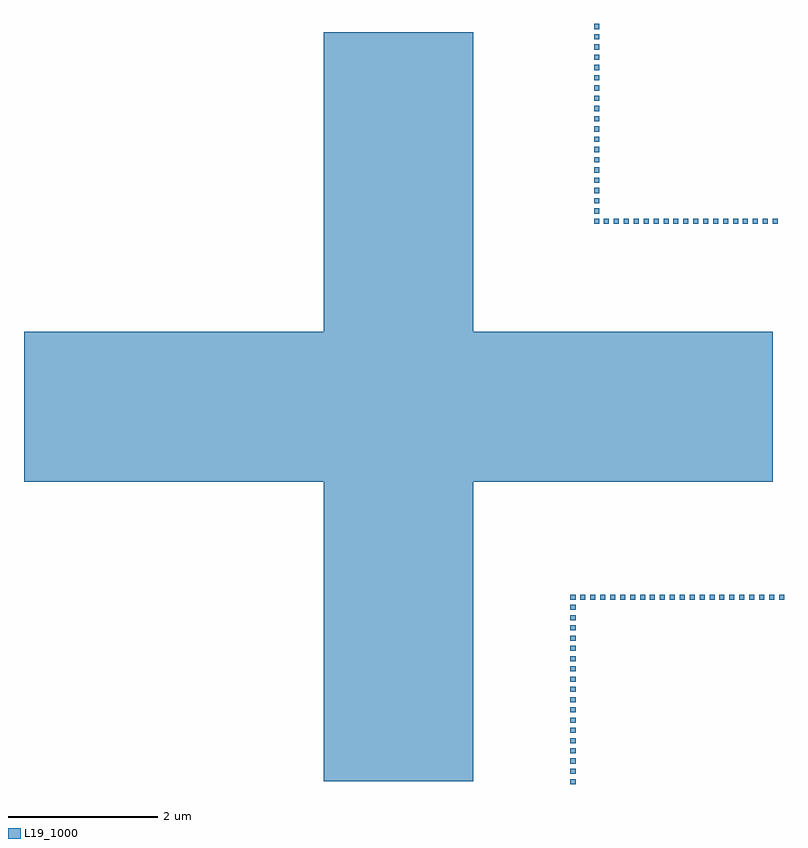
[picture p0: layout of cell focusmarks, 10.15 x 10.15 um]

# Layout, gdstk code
import gdstk
lib = gdstk.Library(unit=1e-6, precision=1e-09)
def R(c, l, rs):  # rectangles x0, y0, x1, y1
    for r in rs: c.add(gdstk.rectangle(r[:2], r[2:], *l))
def A(c, l, x, y, w, h, nx, ny, dx, dy):  # array of equal rectangles
    R(c, l, [(x+i*dx, y+j*dy, x+i*dx+w, y+j*dy+h) for i in range(nx) for j in range(ny)])
L19_1000 = (19, 1000)

focusmarks = lib.new_cell('focusmarks')
A(focusmarks, L19_1000, 2.297, -4.627, 0.067, 0.068, 1, 4, 0, 0.137)
A(focusmarks, L19_1000, 2.297, -3.396, 0.067, 0.069, 1, 4, 0, 0.137)
A(focusmarks, L19_1000, 2.297, -2.575, 0.067, 0.069, 3, 1, 0.265, 0)
A(focusmarks, L19_1000, 2.43, -2.575, 0.066, 0.069, 3, 1, 0.265, 0)
A(focusmarks, L19_1000, 3.756, -2.575, 0.067, 0.069, 3, 1, 0.265, 0)
A(focusmarks, L19_1000, 3.889, -2.575, 0.066, 0.069, 3, 1, 0.265, 0)
A(focusmarks, L19_1000, 2.611, 2.445, 0.067, 0.069, 3, 1, 0.265, 0)
A(focusmarks, L19_1000, 2.744, 2.445, 0.066, 0.069, 3, 1, 0.265, 0)
A(focusmarks, L19_1000, 4.07, 2.445, 0.067, 0.069, 3, 1, 0.265, 0)
A(focusmarks, L19_1000, 4.203, 2.445, 0.066, 0.069, 3, 1, 0.265, 0)
A(focusmarks, L19_1000, 2.611, 2.855, 0.067, 0.069, 1, 4, 0, 0.137)
A(focusmarks, L19_1000, 2.611, 4.087, 0.067, 0.068, 1, 4, 0, 0.137)
R(focusmarks, L19_1000, [(2.297,-5.037,2.364,-4.969), (-1,-5,1,5), (2.297,-4.901,2.364,-4.832), (2.297,-4.764,2.364,-4.695), (2.297,-4.08,2.364,-4.011), (2.297,-3.942,2.364,-3.875), (2.297,-3.806,2.364,-3.737), (2.297,-3.669,2.364,-3.601), (2.297,-3.532,2.364,-3.464), (2.297,-2.848,2.364,-2.78), (2.297,-2.711,2.364,-2.642), (3.093,-2.575,3.159,-2.506), (3.226,-2.575,3.292,-2.506), (3.358,-2.575,3.424,-2.506), (3.491,-2.575,3.557,-2.506), (3.623,-2.575,3.689,-2.506), (4.552,-2.575,4.618,-2.506), (4.685,-2.575,4.751,-2.506), (4.817,-2.575,4.883,-2.506), (4.95,-2.575,5.016,-2.506), (5.082,-2.575,5.148,-2.506), (-5,-1,5,1), (3.407,2.445,3.473,2.514), (3.54,2.445,3.606,2.514), (3.672,2.445,3.738,2.514), (3.805,2.445,3.871,2.514), (3.937,2.445,4.003,2.514), (4.866,2.445,4.932,2.514), (4.999,2.445,5.065,2.514), (2.611,2.581,2.678,2.65), (2.611,2.719,2.678,2.787), (2.611,3.403,2.678,3.471), (2.611,3.54,2.678,3.608), (2.611,3.676,2.678,3.745), (2.611,3.814,2.678,3.881), (2.611,3.95,2.678,4.019), (2.611,4.634,2.678,4.703), (2.611,4.771,2.678,4.84), (2.611,4.908,2.678,4.976), (2.611,5.045,2.678,5.114)])

lib.write_gds('focusmarks.gds')
